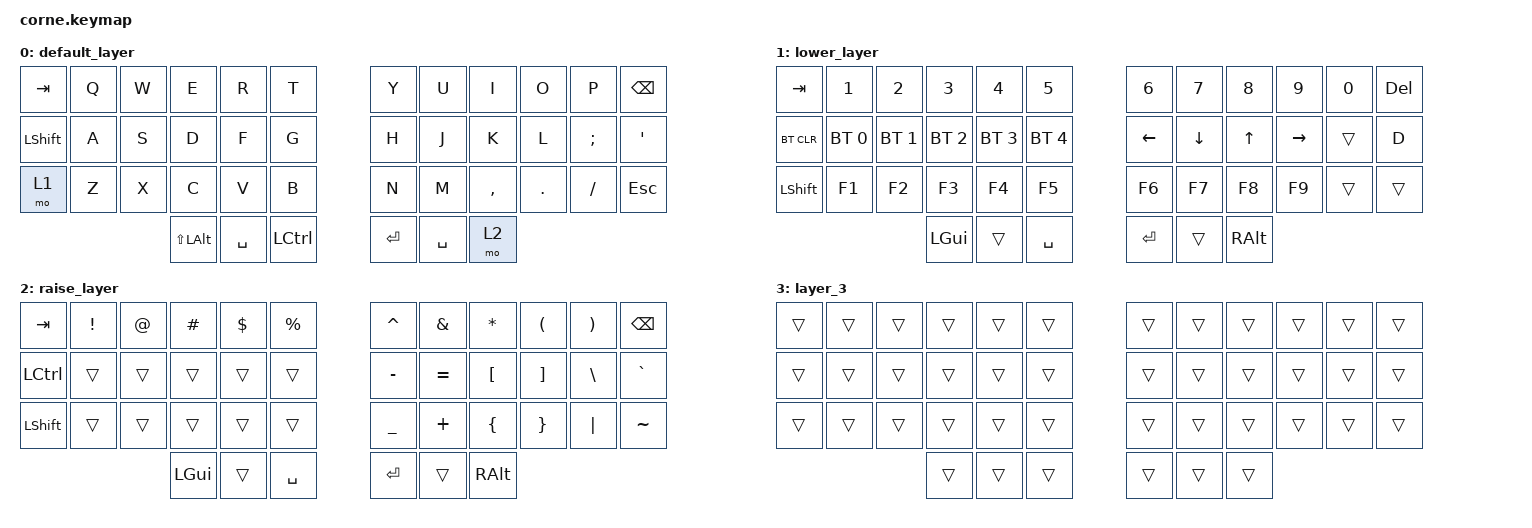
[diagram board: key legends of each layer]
/*
 * Copyright (c) 2020 The ZMK Contributors
 *
 * SPDX-License-Identifier: MIT
 */

#include <behaviors.dtsi>
#include <dt-bindings/zmk/bt.h>
#include <dt-bindings/zmk/keys.h>

/ {
    keymap {
        compatible = "zmk,keymap";

        default_layer {
            // -----------------------------------------------------------------------------------------
            // |  TAB |  Q  |  W  |  E  |  R  |  T  |   |  Y  |  U   |  I  |  O  |  P  | BSPC |
            // | CTRL |  A  |  S  |  D  |  F  |  G  |   |  H  |  J   |  K  |  L  |  ;  |  '   |
            // | SHFT |  Z  |  X  |  C  |  V  |  B  |   |  N  |  M   |  ,  |  .  |  /  | ESC  |
            //                    | GUI | LWR | SPC |   | ENT | RSE  | ALT |

            bindings = <
&kp TAB         &kp Q  &kp W  &kp E             &kp R      &kp T               &kp Y    &kp U      &kp I      &kp O    &kp P     &kp BSPC
&kp LEFT_SHIFT  &kp A  &kp S  &kp D             &kp F      &kp G               &kp H    &kp J      &kp K      &kp L    &kp SEMI  &kp SQT
&mo 1           &kp Z  &kp X  &kp C             &kp V      &kp B               &kp N    &kp M      &kp COMMA  &kp DOT  &kp FSLH  &kp ESC
                              &kp LS(LEFT_ALT)  &kp SPACE  &kp LEFT_CONTROL    &kp RET  &kp SPACE  &mo 2
            >;
        };

        lower_layer {
            // -----------------------------------------------------------------------------------------
            // |  TAB |  1  |  2  |  3  |  4  |  5  |   |  6  |  7  |  8  |  9  |  0  | BSPC |
            // | BTCLR| BT1 | BT2 | BT3 | BT4 | BT5 |   | LFT | DWN |  UP | RGT |     |      |
            // | SHFT |     |     |     |     |     |   |     |     |     |     |     |      |
            //                    | GUI |     | SPC |   | ENT |     | ALT |

            bindings = <
&kp TAB     &kp N1        &kp N2        &kp N3        &kp N4        &kp N5          &kp N6    &kp N7    &kp N8    &kp N9     &kp N0  &kp DEL
&bt BT_CLR  &bt BT_SEL 0  &bt BT_SEL 1  &bt BT_SEL 2  &bt BT_SEL 3  &bt BT_SEL 4    &kp LEFT  &kp DOWN  &kp UP    &kp RIGHT  &trans  &kp D
&kp LSHFT   &kp F1        &kp F2        &kp F3        &kp F4        &kp F5          &kp F6    &kp F7    &kp F8    &kp F9     &trans  &trans
                                        &kp LGUI      &trans        &kp SPACE       &kp RET   &trans    &kp RALT
            >;
        };

        raise_layer {
            // -----------------------------------------------------------------------------------------
            // |  TAB |  !  |  @  |  #  |  $  |  %  |   |  ^  |  &  |  *  |  (  |  )  | BSPC |
            // | CTRL |     |     |     |     |     |   |  -  |  =  |  [  |  ]  |  \  |  `   |
            // | SHFT |     |     |     |     |     |   |  _  |  +  |  {  |  }  | "|" |  ~   |
            //                    | GUI |     | SPC |   | ENT |     | ALT |

            bindings = <
&kp TAB    &kp EXCL  &kp AT  &kp HASH  &kp DLLR  &kp PRCNT    &kp CARET  &kp AMPS   &kp ASTRK  &kp LPAR  &kp RPAR  &kp BSPC
&kp LCTRL  &trans    &trans  &trans    &trans    &trans       &kp MINUS  &kp EQUAL  &kp LBKT   &kp RBKT  &kp BSLH  &kp GRAVE
&kp LSHFT  &trans    &trans  &trans    &trans    &trans       &kp UNDER  &kp PLUS   &kp LBRC   &kp RBRC  &kp PIPE  &kp TILDE
                             &kp LGUI  &trans    &kp SPACE    &kp RET    &trans     &kp RALT
            >;
        };

        layer_3 {
            bindings = <
&trans  &trans  &trans  &trans  &trans  &trans    &trans  &trans  &trans  &trans  &trans  &trans
&trans  &trans  &trans  &trans  &trans  &trans    &trans  &trans  &trans  &trans  &trans  &trans
&trans  &trans  &trans  &trans  &trans  &trans    &trans  &trans  &trans  &trans  &trans  &trans
                        &trans  &trans  &trans    &trans  &trans  &trans
            >;
        };
    };
};
